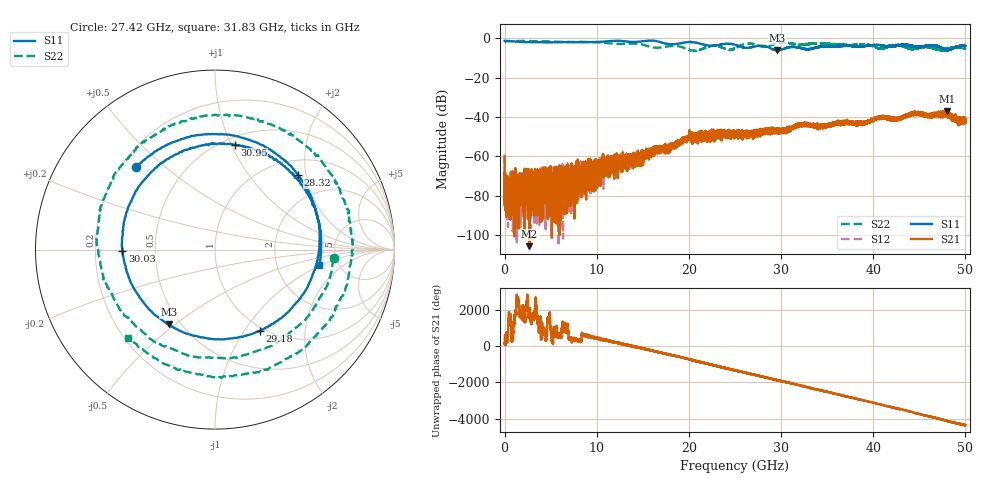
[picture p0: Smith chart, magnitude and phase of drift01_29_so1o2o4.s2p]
!Created with skrf (http://scikit-rf.org).
# Hz S RI R 50.0
!freq ReS11 ImS11 ReS21 ImS21 ReS12 ImS12 ReS22 ImS22
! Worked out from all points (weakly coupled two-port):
!   10001 points, 300 kHz to 50 GHz, reference 50 ohm
!   highest |S21| = -36.96 dB at 48.02 GHz (marker M1); lowest = -105.7 dB at 2.695 GHz (marker M2)
!   lowest |S11| = -6.2 dB at 29.61 GHz (marker M3), VSWR 2.92, Z = 21.7 - j23.8 ohm
!   |S11| at or under -10 dB: nowhere
!   |S22| runs from -6.5 to -1.4 dB; largest |S21 - S12| = 0.0041
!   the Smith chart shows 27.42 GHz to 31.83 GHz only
!   S11 on the Smith chart (normalised r, x): 27.42 GHz: 0.26, +0.40; 28.32 GHz: 1.33, +1.80; 29.18 GHz: 0.95, -1.18; 30.03 GHz: 0.32, -0.01; 30.95 GHz: 0.57, +1.03; 31.83 GHz: 3.59, -0.95
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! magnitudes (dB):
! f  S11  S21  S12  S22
! 300 kHz  -1.3  -60.2  -59.0  -2.1
! 260.3 MHz  -1.4  -73.1  -73.1  -1.4
! 2.695 GHz  -2.0  -105.7  -77.1  -1.4
! 7.09 GHz  -1.9  -71.8  -77.6  -1.9
! 8.335 GHz  -2.0  -69.5  -64.6  -1.8
! 16.67 GHz  -1.6  -55.0  -56.4  -4.8
! 20.09 GHz  -1.9  -50.0  -50.1  -5.9
! 22.62 GHz  -3.8  -50.1  -48.2  -3.8
! 25 GHz  -3.3  -49.3  -49.3  -5.1
! 27.42 GHz  -3.9  -47.6  -47.6  -3.6
! 28.32 GHz  -4.1  -47.5  -47.3  -4.2
! 29.18 GHz  -5.7  -46.2  -46.6  -3.1
! 29.61 GHz  -6.2  -46.6  -47.9  -2.5
! 30.03 GHz  -5.7  -46.0  -47.0  -2.3
! 30.95 GHz  -4.5  -45.1  -45.9  -2.5
! 31.83 GHz  -4.6  -44.1  -44.3  -3.3
! 33.34 GHz  -5.2  -43.9  -43.8  -2.6
! 41.67 GHz  -4.4  -40.7  -40.2  -4.4
! 44.44 GHz  -4.2  -38.3  -38.8  -5.3
! 46.49 GHz  -3.5  -39.0  -38.9  -5.0
! 48.02 GHz  -6.0  -37.0  -37.8  -5.5
! 50 GHz  -3.9  -40.9  -40.5  -5.4
